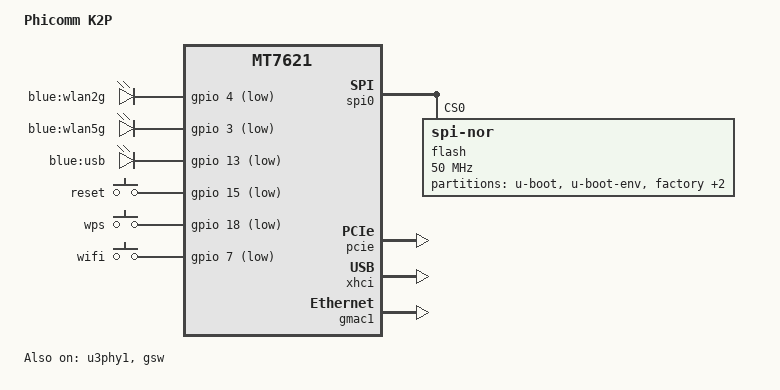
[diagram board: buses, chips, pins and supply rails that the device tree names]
#include "mt7621.dtsi"

#include <dt-bindings/gpio/gpio.h>
#include <dt-bindings/input/input.h>

/ {
	compatible = "phicomm,k2p_usb", "mediatek,mt7621-soc";
	model = "Phicomm K2P";

	aliases {
		led-boot = &led_usb;
		led-failsafe = &led_usb;
		led-upgrade = &led_usb;
	};

	leds {
		compatible = "gpio-leds";
		
		wlan2g {
			label = "blue:wlan2g";
			gpios = <&gpio 4 GPIO_ACTIVE_LOW>;
			linux,default-trigger = "phy0radio";
		};

		wlan5g {
			label = "blue:wlan5g";
			gpios = <&gpio 3 GPIO_ACTIVE_LOW>;
			linux,default-trigger = "phy1radio";
		};

		usb {
			label = "blue:usb";
			gpios = <&gpio 13 GPIO_ACTIVE_LOW>;
			trigger-sources = <&ehci_port2>;
			linux,default-trigger = "usbport";
		};
	};

	keys {
		compatible = "gpio-keys";

		reset {
			label = "reset";
			gpios = <&gpio 15 GPIO_ACTIVE_LOW>;
			linux,code = <KEY_RESTART>;
		};

		wps {
			label = "wps";
			gpios = <&gpio 18 GPIO_ACTIVE_LOW>;
			linux,code = <KEY_WPS_BUTTON>;
		};

		wifi {
			label = "wifi";
			gpios = <&gpio 7 GPIO_ACTIVE_LOW>;
			linux,code = <KEY_RFKILL>;
		};
	};
};

&spi0 {
	status = "okay";

	flash@0 {
		compatible = "jedec,spi-nor";
		reg = <0>;
		spi-max-frequency = <50000000>;

		partitions {
			compatible = "fixed-partitions";
			#address-cells = <1>;
			#size-cells = <1>;

			partition@0 {
				label = "u-boot";
				reg = <0x0 0x30000>;
				read-only;
			};

			partition@30000 {
				label = "u-boot-env";
				reg = <0x30000 0x10000>;
				read-only;
			};

			factory: partition@40000 {
				label = "factory";
				reg = <0x40000 0x10000>;
				read-only;
			};

			partition@50000 {
				label = "permanent_config";
				reg = <0x50000 0x50000>;
				read-only;
			};

			partition@a0000 {
				compatible = "denx,uimage";
				label = "firmware";
				reg = <0xa0000 0xf60000>;
			};
		};
	};
};

&pcie {
	status = "okay";
};

&xhci {
	status = "okay";
};

&u3phy1 {
	status = "okay";
};

&pcie0 {
	mt76@0,0 {
		reg = <0x0000 0 0 0 0>;
		mediatek,mtd-eeprom = <&factory 0x0>;
	};
};

&gmac0 {
	mtd-mac-address = <&factory 0xe000>;
};

&gmac1 {
	mtd-mac-address = <&factory 0xe006>;
	status = "okay";
};

&gsw {
	mediatek,portmap = "llllw";
	status = "okay";
};

&hnat {
	mtketh-wan = "eth1";
	mtketh-ppd = "eth0";
	mtketh-lan = "eth0";
	mtketh-max-gmac = <2>;
	/delete-property/ mtkdsa-wan-port;
};

&switch0 {
	status = "disabled";
};

&state_default {
	gpio {
		groups = "i2c", "jtag", "uart3", "wdt";
		function = "gpio";
	};
};
